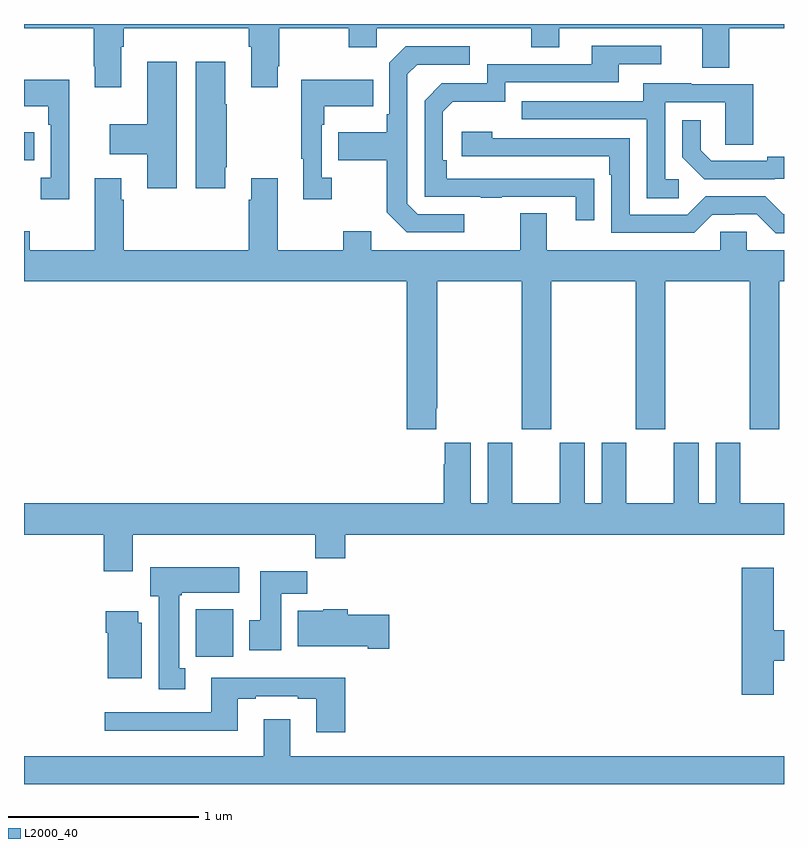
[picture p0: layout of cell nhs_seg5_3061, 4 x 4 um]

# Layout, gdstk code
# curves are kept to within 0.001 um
import gdstk
lib = gdstk.Library(unit=1e-6, precision=1e-09)
def R(c, l, rs):  # rectangles x0, y0, x1, y1
    for r in rs: c.add(gdstk.rectangle(r[:2], r[2:], *l))
def P(c, l, *ps):  # polygons
    for p in ps: c.add(gdstk.Polygon(p, *l))
L2000_40 = (2000, 40)

nhs_seg5_3061 = lib.new_cell('nhs_seg5_3061')
R(nhs_seg5_3061, L2000_40, [(289.905,837.468,290.101,837.718), (289,840.082,289.055,840.229)])
P(nhs_seg5_3061, L2000_40, [(289.513,840.68),(289.526,840.68),(289.526,840.776),(290.183,840.776),(290.183,840.68),(290.195,840.68),(290.195,840.465),(290.335,840.465),(290.335,840.577),(290.343,840.577),(290.343,840.776),(290.71,840.776),(290.71,840.677),(290.856,840.677),(290.856,840.776),(291.67,840.776),(291.67,840.677),(291.817,840.677),(291.817,840.776),(292.571,840.776),(292.571,840.568),(292.711,840.568),(292.711,840.776),(293,840.776),(293,840.799),(289,840.799),(289,840.776),(289.366,840.776),(289.366,840.577),(289.373,840.577),(289.373,840.465),(289.513,840.465)],
  [(292.001,839.984),(291.224,839.985),(291.224,840.082),(291.204,840.082),(291.204,840.336),(291.257,840.389),(291.534,840.389),(291.534,840.492),(292.129,840.492),(292.129,840.588),(292.354,840.588),(292.354,840.684),(291.989,840.684),(291.989,840.588),(291.438,840.588),(291.438,840.486),(291.198,840.486),(291.108,840.396),(291.108,839.889),(291.403,839.889),(291.403,839.884),(291.515,839.884),(291.515,839.889),(291.905,839.889),(291.905,839.766),(292.001,839.766)],
  [(291.316,839.799),(291.072,839.799),(291.018,839.853),(291.018,840.534),(291.069,840.585),(291.346,840.585),(291.346,840.681),(291.009,840.681),(290.922,840.594),(290.922,840.325),(290.91,840.325),(290.91,840.229),(290.653,840.229),(290.653,840.082),(290.91,840.082),(290.91,839.809),(291.015,839.703),(291.316,839.703)],
  [(290.059,840.046),(290.067,840.046),(290.067,840.377),(290.059,840.377),(290.059,840.601),(289.904,840.601),(289.904,839.934),(290.059,839.934)],
  [(289.804,840.601),(289.649,840.601),(289.649,840.271),(289.452,840.271),(289.452,840.113),(289.649,840.113),(289.649,839.934),(289.804,839.934)],
  [(289.238,840.505),(289,840.505),(289,840.365),(289.128,840.365),(289.128,840.269),(289.14,840.269),(289.14,839.99),(289.089,839.99),(289.089,839.877),(289.238,839.877)],
  [(290.62,839.99),(290.568,839.99),(290.568,840.269),(290.581,840.269),(290.581,840.365),(290.837,840.365),(290.837,840.505),(290.46,840.505),(290.46,840.089),(290.471,840.089),(290.471,839.877),(290.62,839.877)],
  [(292.447,839.982),(292.374,839.982),(292.374,840.387),(292.692,840.387),(292.692,840.163),(292.837,840.163),(292.837,840.483),(292.513,840.483),(292.513,840.487),(292.259,840.487),(292.259,840.393),(291.619,840.393),(291.619,840.297),(292.278,840.297),(292.278,839.881),(292.447,839.881)],
  [(292.952,839.985),(293,839.985),(293,840.101),(292.913,840.101),(292.913,840.078),(292.618,840.078),(292.561,840.135),(292.561,840.292),(292.464,840.292),(292.464,840.098),(292.58,839.982),(292.952,839.982)],
  [(293,839.799),(292.995,839.799),(292.902,839.892),(292.587,839.892),(292.491,839.796),(292.188,839.796),(292.188,840.198),(291.464,840.198),(291.464,840.232),(291.303,840.232),(291.303,840.102),(292.079,840.102),(292.079,840.005),(292.092,840.005),(292.092,839.7),(292.527,839.7),(292.623,839.796),(292.742,839.796),(292.742,839.799),(292.857,839.799),(292.957,839.699),(293,839.699)],
  [(291.169,838.777),(291.174,838.777),(291.174,839.444),(291.619,839.444),(291.619,838.665),(291.774,838.665),(291.774,839.444),(292.219,839.444),(292.219,838.665),(292.374,838.665),(292.374,839.444),(292.819,839.444),(292.819,838.665),(292.974,838.665),(292.974,839.444),(293,839.444),(293,839.608),(292.803,839.608),(292.803,839.706),(292.665,839.706),(292.665,839.608),(291.751,839.608),(291.751,839.803),(291.611,839.803),(291.611,839.608),(290.827,839.608),(290.827,839.707),(290.68,839.707),(290.68,839.608),(290.335,839.608),(290.335,839.986),(290.195,839.986),(290.195,839.873),(290.183,839.873),(290.183,839.608),(289.526,839.608),(289.526,839.873),(289.513,839.873),(289.513,839.986),(289.373,839.986),(289.373,839.608),(289.029,839.608),(289.029,839.707),(289,839.707),(289,839.444),(291.014,839.444),(291.014,838.665),(291.169,838.665)],
  [(293,838.276),(292.771,838.276),(292.771,838.594),(292.64,838.594),(292.64,838.276),(292.552,838.276),(292.552,838.594),(292.421,838.594),(292.421,838.276),(292.171,838.276),(292.171,838.594),(292.04,838.594),(292.04,838.276),(291.952,838.276),(291.952,838.594),(291.821,838.594),(291.821,838.276),(291.571,838.276),(291.571,838.594),(291.44,838.594),(291.44,838.276),(291.352,838.276),(291.352,838.594),(291.215,838.594),(291.215,838.481),(291.209,838.481),(291.209,838.276),(289,838.276),(289,838.112),(289.421,838.112),(289.421,837.918),(289.573,837.918),(289.573,838.112),(290.533,838.112),(290.533,837.988),(290.69,837.988),(290.69,838.112),(293,838.112)],
  [(289.849,837.409),(289.816,837.409),(289.816,837.793),(289.83,837.793),(289.83,837.806),(290.134,837.806),(290.134,837.94),(289.664,837.94),(289.664,837.786),(289.709,837.786),(289.709,837.297),(289.849,837.297)],
  [(292.945,837.449),(293,837.449),(293,837.607),(292.945,837.607),(292.945,837.937),(292.778,837.937),(292.778,837.27),(292.945,837.27)],
  [(290.353,837.8),(290.492,837.8),(290.492,837.919),(290.243,837.919),(290.243,837.66),(290.186,837.66),(290.186,837.504),(290.353,837.504)],
  [(290.923,837.69),(290.705,837.69),(290.705,837.718),(290.574,837.718),(290.574,837.712),(290.441,837.712),(290.441,837.524),(290.81,837.524),(290.81,837.512),(290.923,837.512)],
  [(289.621,837.648),(289.6,837.648),(289.6,837.709),(289.43,837.709),(289.43,837.596),(289.442,837.596),(289.442,837.356),(289.621,837.356)],
  [(290.69,837.358),(289.985,837.358),(289.985,837.177),(289.425,837.177),(289.425,837.08),(290.125,837.08),(290.125,837.249),(290.221,837.249),(290.221,837.261),(290.441,837.261),(290.441,837.249),(290.537,837.249),(290.537,837.072),(290.69,837.072)],
  [(293,836.944),(290.401,836.944),(290.401,837.139),(290.261,837.139),(290.261,836.944),(289,836.944),(289,836.799),(293,836.799)])

lib.write_gds('nhs_seg5_3061.gds')
